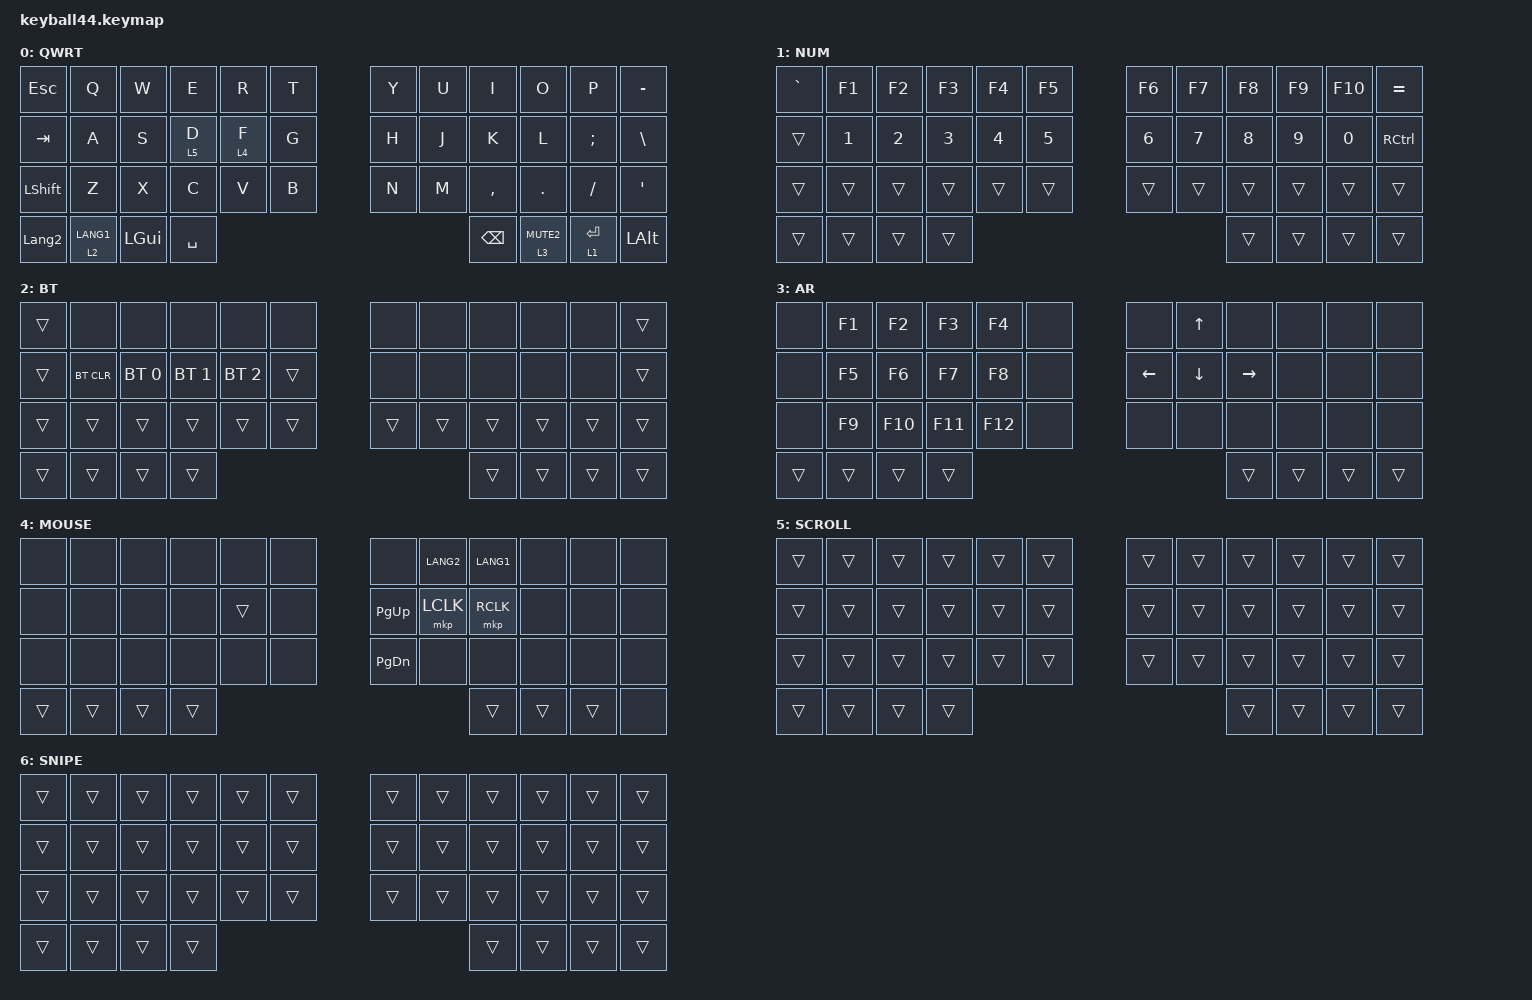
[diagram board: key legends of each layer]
#define DEFAULT 0
#define NUM     1
#define SYM     2
#define FUN     3
#define MOUSE   4
#define SCROLL  5
#define SNIPE   6

#include <behaviors/mouse_keys.dtsi>
#include <dt-bindings/zmk/mouse.h>
#include <behaviors.dtsi>
#include <dt-bindings/zmk/bt.h>
#include <dt-bindings/zmk/keys.h>
#include <dt-bindings/zmk/pointing.h>

&nice_view_spi { cs-gpios = <&pro_micro 1 GPIO_ACTIVE_HIGH>; };

&lt {
    tapping-term-ms = <240>;
    flavor = "balanced";
    quick-tap-ms = <150>;
};

&mt {
    tapping-term-ms = <200>;
    flavor = "tap-preferred";
    quick-tap-ms = <150>;
};

&caps_word { continue-list = <UNDERSCORE MINUS>; };

/ {
    // custom shift using mod-morph 

    behaviors {
        cmqus: comma_question {
            compatible = "zmk,behavior-mod-morph";
            label = "COMMA_QUESTION";
            #binding-cells = <0>;
            bindings = <&kp COMMA>, <&kp QUESTION>;

            mods = <(MOD_LSFT|MOD_RSFT)>;
        };

        dtsmi: dot_semi {
            compatible = "zmk,behavior-mod-morph";
            label = "DOT_SEMI";
            #binding-cells = <0>;
            bindings = <&kp DOT>, <&kp SEMI>;

            mods = <(MOD_LSFT|MOD_RSFT)>;
        };
    };

    keymap {
        compatible = "zmk,keymap";

        default_layer {
            label = "QWRT";
            bindings = <
&kp ESCAPE      &kp Q        &kp W     &kp E      &kp R     &kp T                     &kp Y        &kp U  &kp I      &kp O    &kp P      &kp MINUS
&kp TAB         &kp A        &kp S     &lt 5 D    &lt 4 F   &kp G                     &kp H        &kp J  &kp K      &kp L    &kp SEMI   &kp BSLH
&kp LEFT_SHIFT  &kp Z        &kp X     &kp C      &kp V     &kp B                     &kp N        &kp M  &kp COMMA  &kp DOT  &kp SLASH  &kp APOS
&kp LANGUAGE_2  &lt 2 LANG1  &kp LGUI  &kp SPACE  &kp BSPC             &lt 3 K_MUTE2  &lt 1 ENTER                                        &kp LEFT_ALT
            >;
        };

        number_layer {
            label = "NUM";
            bindings = <
&kp GRAVE  &kp F1  &kp F2  &kp F3  &kp F4  &kp F5              &kp F6  &kp F7  &kp F8  &kp F9  &kp F10  &kp EQUAL
&trans     &kp N1  &kp N2  &kp N3  &kp N4  &kp N5              &kp N6  &kp N7  &kp N8  &kp N9  &kp N0   &kp RCTRL
&trans     &trans  &trans  &trans  &trans  &trans              &trans  &trans  &trans  &trans  &trans   &trans
&trans     &trans  &trans  &trans  &trans              &trans  &trans                                   &trans
            >;
        };

        symbol_layer {
            label = "BT";
            bindings = <
&trans  &none       &none         &none         &none         &none               &none   &none   &none   &none   &none   &trans
&trans  &bt BT_CLR  &bt BT_SEL 0  &bt BT_SEL 1  &bt BT_SEL 2  &trans              &none   &none   &none   &none   &none   &trans
&trans  &trans      &trans        &trans        &trans        &trans              &trans  &trans  &trans  &trans  &trans  &trans
&trans  &trans      &trans        &trans        &trans                    &trans  &trans                                  &trans
            >;
        };

        arrow_layer {
            label = "AR";
            bindings = <
&none   &kp F1  &kp F2   &kp F3   &kp F4   &none              &none     &kp UP    &none      &none  &none  &none
&none   &kp F5  &kp F6   &kp F7   &kp F8   &none              &kp LEFT  &kp DOWN  &kp RIGHT  &none  &none  &none
&none   &kp F9  &kp F10  &kp F11  &kp F12  &none              &none     &none     &none      &none  &none  &none
&trans  &trans  &trans   &trans   &trans              &trans  &trans                                       &trans
            >;
        };

        mouse_layer {
            label = "MOUSE";
            bindings = <
&none   &none   &none   &none   &none   &none              &none          &kp LANG2  &kp LANG1  &none  &none  &none
&none   &none   &none   &none   &trans  &none              &kp PAGE_UP    &mkp LCLK  &mkp RCLK  &none  &none  &none
&none   &none   &none   &none   &none   &none              &kp PAGE_DOWN  &none      &none      &none  &none  &none
&trans  &trans  &trans  &trans  &trans             &trans  &trans                                             &none
            >;
        };

        scroll_layer {
            label = "SCROLL";
            bindings = <
&trans  &trans  &trans  &trans  &trans  &trans              &trans  &trans  &trans  &trans  &trans  &trans
&trans  &trans  &trans  &trans  &trans  &trans              &trans  &trans  &trans  &trans  &trans  &trans
&trans  &trans  &trans  &trans  &trans  &trans              &trans  &trans  &trans  &trans  &trans  &trans
&trans  &trans  &trans  &trans  &trans              &trans  &trans                                  &trans
            >;
        };

        snipe_layer {
            label = "SNIPE";
            bindings = <
&trans  &trans  &trans  &trans  &trans  &trans              &trans  &trans  &trans  &trans  &trans  &trans
&trans  &trans  &trans  &trans  &trans  &trans              &trans  &trans  &trans  &trans  &trans  &trans
&trans  &trans  &trans  &trans  &trans  &trans              &trans  &trans  &trans  &trans  &trans  &trans
&trans  &trans  &trans  &trans  &trans              &trans  &trans                                  &trans
            >;
        };
    };
};
